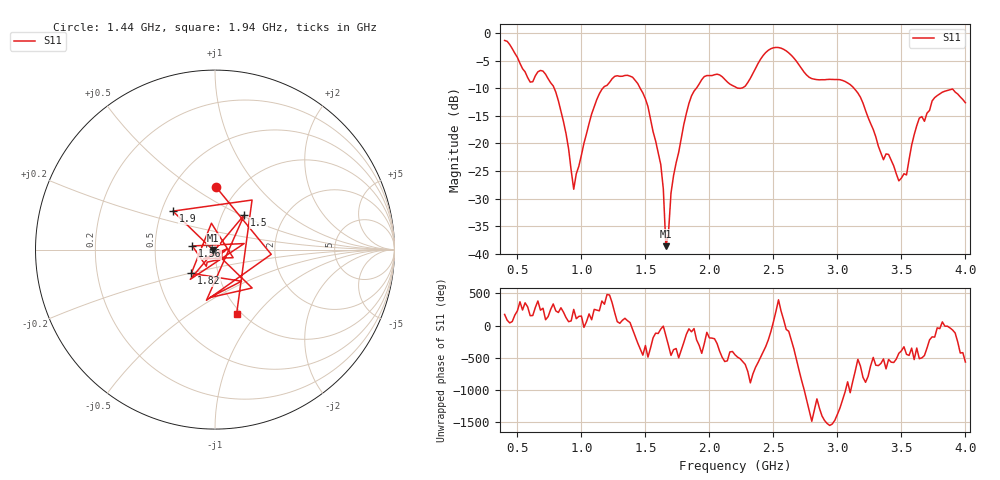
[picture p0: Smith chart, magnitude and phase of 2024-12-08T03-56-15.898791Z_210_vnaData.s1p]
!Created with skrf (http://scikit-rf.org).
# Hz S RI R 50.0
!freq ReS11 ImS11
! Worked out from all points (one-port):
!   181 points, 400 MHz to 4 GHz, reference 50 ohm
!   lowest |S11| = -38.6 dB at 1.66 GHz (marker M1), VSWR 1.02, Z = 48.9 - j0.452 ohm
!   |S11| at or under -10 dB: 787.3 MHz to 1.168 GHz (380.6 MHz wide, 38.9 % of centre); 1.459 GHz to 1.899 GHz (439.7 MHz wide, 26.2 % of centre); 3.129 GHz to end of sweep (the widest 3 of 4)
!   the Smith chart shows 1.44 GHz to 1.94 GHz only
!   S11 on the Smith chart (normalised r, x): 1.44 GHz: 0.79, +0.63; 1.5 GHz: 1.27, +0.52; 1.56 GHz: 0.78, +0.03; 1.82 GHz: 0.74, -0.20; 1.9 GHz: 0.57, +0.27; 1.94 GHz: 0.95, -0.79
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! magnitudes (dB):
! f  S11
! 400 MHz  -1.4
! 600 MHz  -8.9
! 720 MHz  -7.5
! 860 MHz  -16.1
! 940 MHz  -28.3
! 1.12 GHz  -12.1
! 1.3 GHz  -7.8
! 1.44 GHz  -9.1
! 1.5 GHz  -11.9
! 1.56 GHz  -17.9
! 1.62 GHz  -23.8
! 1.64 GHz  -28.3
! 1.66 GHz  -38.6
! 1.68 GHz  -36.4
! 1.7 GHz  -29.0
! 1.76 GHz  -21.6
! 1.82 GHz  -14.6
! 1.9 GHz  -10.0
! 1.94 GHz  -8.5
! 2.2 GHz  -9.7
! 2.48 GHz  -2.8
! 2.66 GHz  -4.5
! 3.1 GHz  -9.3
! 3.48 GHz  -26.8
! 3.56 GHz  -22.9
! 3.64 GHz  -15.4
! 3.76 GHz  -11.7
! 4 GHz  -12.6
